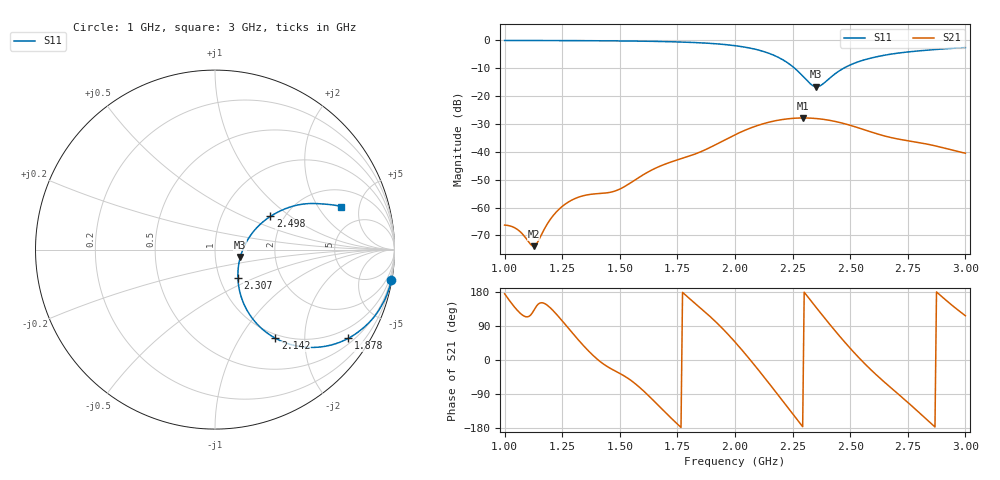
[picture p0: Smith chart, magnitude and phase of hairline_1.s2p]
! TOUCHSTONE file generated by CST MICROWAVE STUDIO
! Date and time: Tue Mar 18 20:31:34 2025
! Project name: hairline.cst
! Parameters = {B=12.5; D=160; F=15; Feed=2.85625; Fracture=0.5; L=100; M=30; R=0.384908; S=1.5; Theta=0; length=57.125; wave=114.25}
! Header version: 2024
! Port assignment regex: !\s*Touchstone port\s*([0-9]+)\s*=\s*(CST MWS port|CST DES external port|CST DES block port)\s*(.+)\s* \(\"(.*)\"\)(\s*mode\s*([0-9]+))?.*
! Touchstone port assignment:
! Touchstone port 1 = CST MWS port 1 ("")
! Touchstone port 2 = CST MWS port 2 ("")
# GHz S DB R 50
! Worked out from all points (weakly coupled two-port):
!   304 points, 1 GHz to 3 GHz, reference 50 ohm
!   highest |S21| = -27.85 dB at 2.294 GHz (marker M1); lowest = -73.9 dB at 1.125 GHz (marker M2)
!   lowest |S11| = -16.7 dB at 2.353 GHz (marker M3), VSWR 1.34, Z = 66.1 - j5.61 ohm
!   |S11| at or under -10 dB: 2.259 GHz to 2.471 GHz (212.4 MHz wide, 8.98 % of centre)
!   S12 and S22 are empty: the file has one direction only
!   S11 on the Smith chart (normalised r, x): 1 GHz: 0, -12; 1.878 GHz: 0.66, -3.18; 2.142 GHz: 0.94, -1.44; 2.307 GHz: 1.22, -0.40; 2.498 GHz: 1.70, +0.72; 3 GHz: 3.09, +3.31
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1  -0.02 -9.7  -66.31 174.8  -200.00 0.0  -200.00 0.0
1.05941  -0.03 -10.5  -68.12 128.4  -200.00 0.0  -200.00 0.0
1.12541  -0.04 -11.5  -73.88 129.3  -200.00 0.0  -200.00 0.0
1.13861  -0.04 -11.7  -73.06 142.4  -200.00 0.0  -200.00 0.0
1.19142  -0.05 -12.5  -65.09 141.4  -200.00 0.0  -200.00 0.0
1.23102  -0.06 -13.2  -61.03 116.7  -200.00 0.0  -200.00 0.0
1.27723  -0.07 -14.0  -58.01 83.6  -200.00 0.0  -200.00 0.0
1.33663  -0.09 -15.1  -55.88 41.7  -200.00 0.0  -200.00 0.0
1.48845  -0.18 -18.5  -53.80 -31.7  -200.00 0.0  -200.00 0.0
1.66667  -0.37 -23.9  -45.44 -119.4  -200.00 0.0  -200.00 0.0
1.87789  -0.99 -33.7  -39.00 122.4  -200.00 0.0  -200.00 0.0
2.0033  -1.93 -42.7  -33.75 45.3  -200.00 0.0  -200.00 0.0
2.14191  -4.47 -55.7  -29.48 -57.2  -200.00 0.0  -200.00 0.0
2.22112  -7.65 -61.9  -28.23 -119.0  -200.00 0.0  -200.00 0.0
2.29373  -12.77 -55.6  -27.85 -176.0  -200.00 0.0  -200.00 0.0
2.30693  -13.92 -50.7  -27.85 173.7  -200.00 0.0  -200.00 0.0
2.33993  -16.34 -28.5  -27.97 148.1  -200.00 0.0  -200.00 0.0
2.35314  -16.65 -16.4  -28.06 138.0  -200.00 0.0  -200.00 0.0
2.42574  -12.54 25.1  -28.94 83.4  -200.00 0.0  -200.00 0.0
2.49835  -8.88 30.9  -30.45 32.0  -200.00 0.0  -200.00 0.0
2.66997  -5.02 27.0  -34.75 -69.7  -200.00 0.0  -200.00 0.0
3  -2.57 18.7  -40.50 116.8  -200.00 0.0  -200.00 0.0
